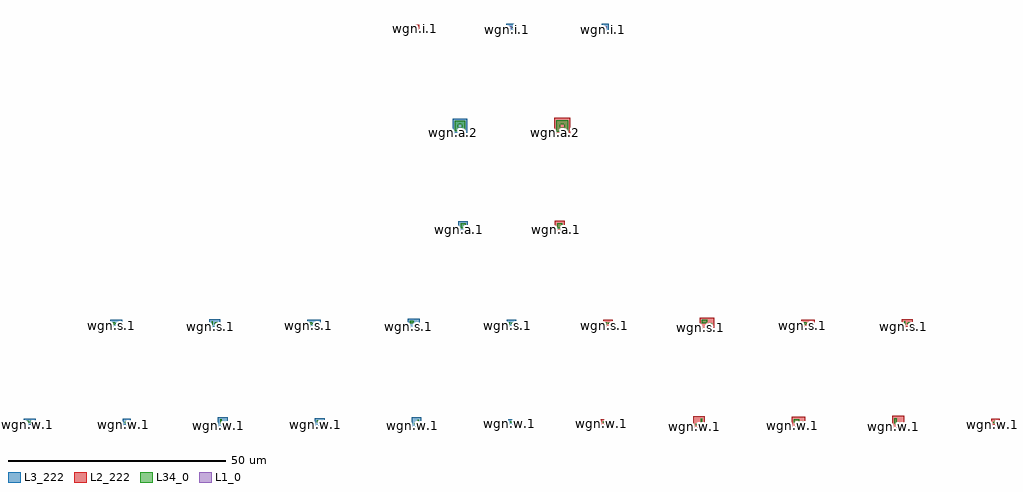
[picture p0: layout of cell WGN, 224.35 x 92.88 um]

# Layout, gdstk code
import gdstk
lib = gdstk.Library(unit=1e-6, precision=5e-09)
def R(c, l, rs):  # rectangles x0, y0, x1, y1
    for r in rs: c.add(gdstk.rectangle(r[:2], r[2:], *l))
def P(c, l, *ps):  # polygons
    for p in ps: c.add(gdstk.Polygon(p, *l))
L1_0 = (1, 0)
L2_222 = (2, 222)
L3_222 = (3, 222)
L34_0 = (34, 0)

wgn = lib.new_cell('WGN')
R(wgn, L1_0, [(-21.725,90.545,-20.925,91.145), (0.275,90.545,0.875,91.145)])
R(wgn, L2_222, [(66.48,-1.235,69.25,1.535), (20.8,-1.135,23.37,1.435), (43.37,-1.01,46.49,1.31), (89.25,-0.65,91.15,0.95), (-0.5,-0.5,0.8,0.8), (22.23,21.535,25.63,24.135), (68.73,21.885,71.23,23.785), (0.03,22.035,2.23,23.635), (45.63,22.035,48.73,23.635), (-11.04,44.135,-8.81,46.365), (-11.205,66.36,-7.525,70.04), (-43.425,90.245,-42.225,91.445)])
R(wgn, L3_222, [(-88.53,-0.99,-86.25,1.29), (-43.93,-0.925,-41.79,1.215), (-66.25,-0.76,-63.93,1.06), (-133.2,-0.65,-130.4,0.95), (-110.4,-0.64,-108.53,0.94), (-21.79,-0.495,-20.5,0.795), (-44.9,21.755,-42.16,23.915), (-90.48,21.885,-87.99,23.785), (-113.28,22.035,-110.48,23.635), (-67.99,22.035,-64.9,23.635), (-22.16,22.035,-19.97,23.635), (-33.245,44.15,-31.045,46.35), (-34.525,66.54,-31.205,69.86), (-22.225,90.045,-20.225,91.645), (-0.225,90.045,1.375,91.645)])
R(wgn, L34_0, [(67.55,-0.735,68.75,-0.165), (-87.62,-0.49,-86.75,-0.08), (66.98,-0.165,67.55,1.035), (-88.03,-0.08,-87.62,0.79), (0,0,0.3,0.3), (-21.29,0.005,-21,0.295), (-89.98,22.385,-89.68,23.285), (69.23,22.385,69.53,23.285), (-21.66,22.535,-21.36,23.135), (0.53,22.535,0.83,23.135), (-21.07,22.685,-20.47,22.985), (1.13,22.685,1.73,22.985), (-10.54,44.635,-9.31,45.865), (-32.74,44.645,-31.54,45.845), (-42.925,90.745,-42.725,90.945), (-21.125,90.745,-20.725,90.945), (0.475,90.745,0.675,90.945)])
P(wgn, L34_0, [(21.3,-0.635),(21.3,-0.235),(22.015,-0.235),(22.465,0.215),(22.465,0.93),(22.865,0.93),(22.865,0.05),(22.185,-0.635)],
  [(-43.425,-0.42),(-43.425,-0.13),(-42.905,-0.13),(-42.58,0.195),(-42.58,0.715),(-42.29,0.715),(-42.29,0.075),(-42.785,-0.42)],
  [(44.785,-0.51),(44.785,0.005),(43.87,0.005),(43.87,0.805),(45.07,0.805),(45.07,0.29),(45.985,0.29),(45.985,-0.51)],
  [(-65.175,-0.26),(-65.175,0.065),(-65.75,0.065),(-65.75,0.565),(-65,0.565),(-65,0.24),(-64.425,0.24),(-64.425,-0.26)],
  [(67.55,-0.735),(66.985,-0.17),(66.98,-0.17),(66.98,-0.165),(67.55,-0.165),(67.55,-0.735)],
  [(-87.62,-0.49),(-88.03,-0.08),(-88.03,-0.085),(-88.03,-0.08),(-87.62,-0.08),(-87.62,-0.49),(-87.62,-0.49)],
  [(89.75,-0.15),(89.75,0.15),(90.05,0.45),(90.65,0.45),(90.65,-0.15)],
  [(-109.9,-0.14),(-109.9,0.15),(-109.61,0.44),(-109.03,0.44),(-109.03,-0.14)],
  [(-131.5,-0.15),(-131.8,0.15),(-131.5,0.45),(-131.5,0.45),(-130.9,0.45),(-130.9,-0.15),(-131.5,-0.15)],
  [(-132.7,-0.15),(-132.7,0.45),(-132.1,0.45),(-132.1,0.45),(-131.8,0.15),(-132.1,-0.15),(-132.1,-0.15)],
  [(23.93,22.035),(23.93,22.55),(24.215,22.835),(25.13,22.835),(25.13,22.035)],
  [(22.73,22.835),(22.73,23.635),(23.93,23.635),(23.93,23.12),(23.645,22.835)],
  [(-43.53,22.255),(-43.53,22.63),(-43.325,22.835),(-42.66,22.835),(-42.66,22.255)],
  [(-44.4,22.835),(-44.4,23.415),(-43.53,23.415),(-43.53,23.04),(-43.735,22.835)],
  [(47.63,22.535),(47.33,22.835),(47.63,23.135),(47.63,23.135),(48.23,23.135),(48.23,22.535),(47.63,22.535)],
  [(46.13,22.535),(46.13,23.135),(46.73,23.135),(46.73,23.135),(47.03,22.835),(46.73,22.535),(46.73,22.535)],
  [(-66,22.535),(-66.3,22.835),(-66,23.135),(-66,23.135),(-65.4,23.135),(-65.4,22.535),(-66,22.535)],
  [(-67.49,22.535),(-67.49,23.135),(-66.89,23.135),(-66.89,23.135),(-66.59,22.835),(-66.89,22.535),(-66.89,22.535)],
  [(70.13,22.535),(69.83,22.835),(70.13,23.135),(70.13,23.135),(70.73,23.135),(70.73,22.535),(70.13,22.535)],
  [(-89.09,22.535),(-89.39,22.835),(-89.09,23.135),(-89.09,23.135),(-88.49,23.135),(-88.49,22.535),(-89.09,22.535)],
  [(-111.58,22.535),(-111.88,22.835),(-111.58,23.135),(-111.58,23.135),(-110.98,23.135),(-110.98,22.535),(-111.58,22.535)],
  [(-112.78,22.535),(-112.78,23.135),(-112.18,23.135),(-112.18,23.135),(-111.88,22.835),(-112.18,22.535),(-112.18,22.535)],
  [(-10.705,66.86),(-10.705,67.755),(-9.81,67.755),(-8.915,67.755),(-8.915,68.65),(-9.81,68.65),(-9.81,67.755),(-10.705,67.755),(-10.705,69.545),(-8.02,69.545),(-8.02,66.86)],
  [(-34.025,67.04),(-34.025,67.815),(-33.25,67.815),(-32.475,67.815),(-32.475,68.59),(-33.25,68.59),(-33.25,67.815),(-34.025,67.815),(-34.025,69.365),(-31.7,69.365),(-31.7,67.04)])
wgn.add(gdstk.Label('wgn.w.1', (-0.25,-0.25), layer=11, texttype=222))
wgn.add(gdstk.Label('wgn.w.1', (-21.54,-0.245), layer=11, texttype=222))
wgn.add(gdstk.Label('wgn.w.1', (21.05,-0.885), layer=11, texttype=222))
wgn.add(gdstk.Label('wgn.w.1', (-43.675,-0.67), layer=11, texttype=222))
wgn.add(gdstk.Label('wgn.w.1', (43.62,-0.76), layer=11, texttype=222))
wgn.add(gdstk.Label('wgn.w.1', (-66,-0.51), layer=11, texttype=222))
wgn.add(gdstk.Label('wgn.w.1', (66.73,-0.985), layer=11, texttype=222))
wgn.add(gdstk.Label('wgn.w.1', (-88.28,-0.74), layer=11, texttype=222))
wgn.add(gdstk.Label('wgn.w.1', (89.5,-0.4), layer=11, texttype=222))
wgn.add(gdstk.Label('wgn.w.1', (-110.15,-0.39), layer=11, texttype=222))
wgn.add(gdstk.Label('wgn.w.1', (-132.95,-0.4), layer=11, texttype=222))
wgn.add(gdstk.Label('wgn.s.1', (0.28,22.285), layer=11, texttype=222))
wgn.add(gdstk.Label('wgn.s.1', (-21.91,22.285), layer=11, texttype=222))
wgn.add(gdstk.Label('wgn.s.1', (22.48,21.785), layer=11, texttype=222))
wgn.add(gdstk.Label('wgn.s.1', (-44.65,22.005), layer=11, texttype=222))
wgn.add(gdstk.Label('wgn.s.1', (45.88,22.285), layer=11, texttype=222))
wgn.add(gdstk.Label('wgn.s.1', (-67.74,22.285), layer=11, texttype=222))
wgn.add(gdstk.Label('wgn.s.1', (68.98,22.135), layer=11, texttype=222))
wgn.add(gdstk.Label('wgn.s.1', (-90.23,22.135), layer=11, texttype=222))
wgn.add(gdstk.Label('wgn.s.1', (-113.03,22.285), layer=11, texttype=222))
wgn.add(gdstk.Label('wgn.a.1', (-10.79,44.385), layer=11, texttype=222))
wgn.add(gdstk.Label('wgn.a.1', (-32.995,44.4), layer=11, texttype=222))
wgn.add(gdstk.Label('wgn.a.2', (-10.955,66.61), layer=11, texttype=222))
wgn.add(gdstk.Label('wgn.a.2', (-34.275,66.79), layer=11, texttype=222))
wgn.add(gdstk.Label('wgn.i.1', (-21.975,90.295), layer=11, texttype=222))
wgn.add(gdstk.Label('wgn.i.1', (-43.175,90.495), layer=11, texttype=222))
wgn.add(gdstk.Label('wgn.i.1', (0.025,90.295), layer=11, texttype=222))

lib.write_gds('WGN.gds')
